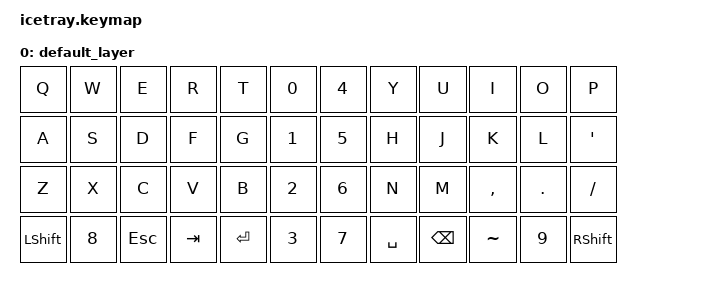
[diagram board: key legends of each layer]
#include <behaviors.dtsi>
#include <dt-bindings/zmk/keys.h>
#include <dt-bindings/zmk/bt.h>

/ {  
    keymap {
        compatible = "zmk,keymap";

        default_layer {
            bindings = <
                &kp Q       &kp W           &kp E           &kp R           &kp T               &kp N0               &kp N4               &kp Y               &kp U                   &kp I           &kp O       &kp P
                &kp A       &kp S           &kp D           &kp F           &kp G               &kp N1               &kp N5               &kp H               &kp J                   &kp K           &kp L       &kp QUOT
                &kp Z       &kp X           &kp C           &kp V           &kp B               &kp N2               &kp N6               &kp N               &kp M                   &kp COMMA       &kp DOT     &kp FSLH
                &kp LSHFT   &kp N8          &kp ESC         &kp TAB         &kp ENTER           &kp N3               &kp N7               &kp SPACE           &kp BACKSPACE           &kp TILDE       &kp N9      &kp RSHFT
                >;
        }; 
    };
};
